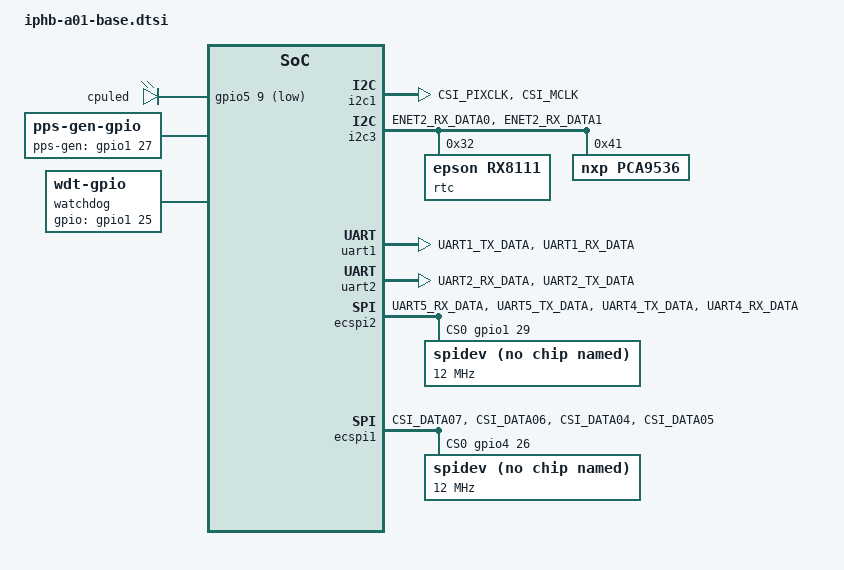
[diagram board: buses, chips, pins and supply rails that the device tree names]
/*
 * Copyright (C) 2019 Variscite Ltd. - https://www.variscite.com
 *
 * This program is free software; you can redistribute it and/or modify
 * it under the terms of the GNU General Public License version 2 as
 * published by the Free Software Foundation.
 */

/ {
	chosen {
		stdout-path = &uart1;
	};
	
	leds {
		compatible = "gpio-leds";
		pinctrl-names = "default";
		pinctrl-0 = <&pinctrl_gpio_status_led>;
		
		gpled1 {
			label = "cpuled";
			gpios = <&gpio5 9 GPIO_ACTIVE_LOW>;
			default-state = "off";
		};
	};

	/* PPS-GEN */
	pps-gen {
		pinctrl-names = "default";
		pinctrl-0 = <&pinctrl_pps>;
		compatible = "pps-gen-gpio";
		pps-gen-gpio = <&gpio1 27 GPIO_ACTIVE_HIGH>;
		
		/*assert-falling-edge;*/
	};	
	
	watchdog: watchdog {
		compatible = "linux,wdt-gpio";
		pinctrl-names = "default";
		pinctrl-0 = <&pinctrl_gpio_wdt>;	
		gpios = <&gpio1 25 GPIO_ACTIVE_HIGH>;
		hw_algo = "toggle";
		hw_margin_ms = <1500>;
		always-running;
		status = "okay";
	};	
		
};

&i2c1 {
	clock_frequency = <100000>;
	pinctrl-names = "default";
	pinctrl-0 = <&pinctrl_i2c1>;
	status = "okay";
};

&i2c3 {
	clock_frequency = <100000>;
	pinctrl-names = "default";
	pinctrl-0 = <&pinctrl_i2c3>;
	status = "okay";

	/* RTC module */
	rtc@32 {
		compatible = "epson,rx8111";
		reg = <0x32>;
	};

	pca9536@41 {
        	compatible = "nxp,pca9536";
	        reg = <0x41>;
		gpio-controller;
		#gpio-cells = <2>;
		gpio-line-names = "SEL-X-FLASH", "RES-XNX", "NC", "XNX-DONE";
	};

};

&iomuxc_snvs {
	pinctrl_gpio_status_led: gpio_status_ledgrp {
		fsl,pins = <
			MX6ULL_PAD_SNVS_TAMPER9__GPIO5_IO09 0x000150A0
			/* MX6ULL_PAD_SNVS_TAMPER9__GPIO5_IO09 0x1b0b0 */
		>;
	};	
	
};

&iomuxc {
	pinctrl_gpio_wdt: gpio_wdtgrp {
		fsl,pins = <
			MX6UL_PAD_UART3_RX_DATA__GPIO1_IO25	0x1b0b0	 /* GPLED2 */
		>;
	};

	pinctrl_i2c1: i2c1grp {
		fsl,pins = <
			MX6UL_PAD_CSI_PIXCLK__I2C1_SCL		0x4001b8b0
			MX6UL_PAD_CSI_MCLK__I2C1_SDA		0x4001b8b0
		>;
	};

	pinctrl_i2c3: i2c3grp {
		fsl,pins = <
			MX6UL_PAD_ENET2_RX_DATA0__I2C3_SCL		0x4001b8b0
			MX6UL_PAD_ENET2_RX_DATA1__I2C3_SDA		0x4001b8b0
		>;
	};

	pinctrl_uart1: uart1grp {
		fsl,pins = <
			MX6UL_PAD_UART1_TX_DATA__UART1_DCE_TX	0x1b0b1
			MX6UL_PAD_UART1_RX_DATA__UART1_DCE_RX	0x1b0b1
		>;
	};
	
	pinctrl_ecspi2_1: ecspi2grp {
		fsl,pins = <
			MX6UL_PAD_UART5_RX_DATA__ECSPI2_MISO	0x100b1
			MX6UL_PAD_UART5_TX_DATA__ECSPI2_MOSI	0x100b1
			MX6UL_PAD_UART4_TX_DATA__ECSPI2_SCLK	0x100b1
			MX6UL_PAD_UART4_RX_DATA__GPIO1_IO29	0x100b1
		>;
	};
	
	pinctrl_ecspi1_1: ecspi1grp {
		fsl,pins = <
			MX6UL_PAD_CSI_DATA07__ECSPI1_MISO	0x100b1
			MX6UL_PAD_CSI_DATA06__ECSPI1_MOSI	0x100b1
			MX6UL_PAD_CSI_DATA04__ECSPI1_SCLK	0x100b1
			MX6UL_PAD_CSI_DATA05__GPIO4_IO26		0x100b1
		>;
	};
	
	pinctrl_pps: gpio_ppsgrp {
		fsl,pins = <
			MX6UL_PAD_UART3_RTS_B__GPIO1_IO27	0x1b0b1
		>;
	};

	pinctrl_uart2: uart2grp {
		fsl,pins = <
			MX6UL_PAD_UART2_RX_DATA__UART2_DCE_RX	0x1b0b1
			MX6UL_PAD_UART2_TX_DATA__UART2_DCE_TX	0x1b0b1		
		>;
	};

};

&lcdif {
	status = "disabled";
};

&snvs_pwrkey {
	status = "disabled";
};

&tsc {
	status = "disabled";
};

&uart1 {
	pinctrl-names = "default";
	pinctrl-0 = <&pinctrl_uart1>;
	status = "okay";
};

&uart2 {
	pinctrl-names = "default";
	pinctrl-0 = <&pinctrl_uart2>;
	status = "okay";
};

&ecspi2 {
	fsl,spi-num-chipselects = <1>;
	cs-gpios = <&gpio1 29 0>;
	pinctrl-names = "default";
	pinctrl-0 = <&pinctrl_ecspi2_1>;
	status = "okay";

	spidev@0 {
		compatible = "spidev";
		spi-max-frequency = <12000000>;
		reg = <0>;
	};
};

&ecspi1 {
	fsl,spi-num-chipselects = <1>;
	cs-gpios = <&gpio4 26 0>;
	pinctrl-names = "default";
	pinctrl-0 = <&pinctrl_ecspi1_1>;
	status = "okay";

	spidev@0 {
		compatible = "spidev";
		spi-max-frequency = <12000000>;
		reg = <0>;
	};
};


